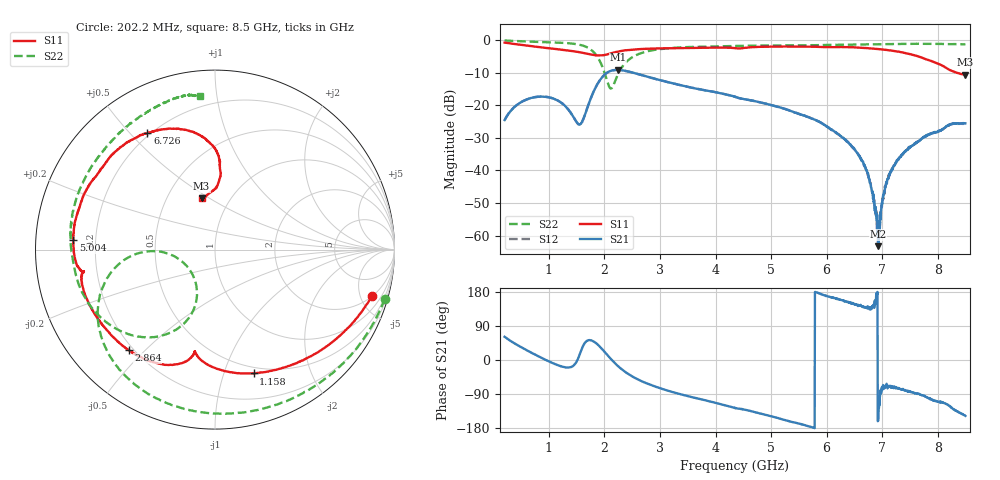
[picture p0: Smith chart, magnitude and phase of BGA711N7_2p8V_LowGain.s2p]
! S-Parameter file
! LabView S2P reader
! (c) DICE Linz
! Infineon Technologies
! Date: 14.11.2008 10:50
!BGA711L7_DeviceLevel_PEXTon_Board#2
!2.80_0.00_
!0 deg
# MHZ S MA R 50
!  S11  S21  S12  S22
!  f  mag  angle  mag  angle  mag  angle  mag  angle
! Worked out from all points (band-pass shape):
!   1563 points, 202.2 MHz to 8.5 GHz, reference 50 ohm
!   highest |S21| = -9.14 dB at 2.242 GHz (marker M1); lowest = -63.2 dB at 6.928 GHz (marker M2)
!   |S21| within 3 dB of the highest: 1.926 GHz to 2.967 GHz (1.041 GHz wide, 42.5 % of centre)
!   lowest |S11| = -10.6 dB at 8.5 GHz (marker M3), VSWR 1.84, Z = 36.9 + j23.1 ohm
!   |S11| at or under -10 dB: 8.337 GHz to end of sweep
!   |S22| runs from -14.9 to -0.1 dB; largest |S21 - S12| = 0.0022
!   S11 on the Smith chart (normalised r, x): 202.2 MHz: 2.02, -6.26; 1.158 GHz: 0.44, -1.26; 2.864 GHz: 0.18, -0.45; 5.004 GHz: 0.12, +0.03; 6.726 GHz: 0.19, +0.56; 8.5 GHz: 0.74, +0.46
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202.1679  0.9124 -16.5  0.05917 61.3  0.05899 61.1  0.9843 -16.3
648.4021  0.8125 -44.0  0.1266 22.2  0.1271 22.2  0.9452 -50.3
1158.384  0.7226 -72.7  0.1184 -13.5  0.1182 -13.6  0.9114 -92.4
1588.681  0.6414 -94.0  0.05403 27.9  0.05331 28.3  0.8323 -135.1
1774.612  0.5958 -99.9  0.1406 51.2  0.1406 51.1  0.6915 -158.2
1949.919  0.5806 -101.3  0.2631 30.2  0.2636 30.2  0.4133 -177.7
2109.288  0.6218 -102.9  0.3356 3.8  0.3349 3.8  0.1809 -147.0
2242.096  0.6646 -107.1  0.349 -15.8  0.3487 -15.9  0.2956 -110.4
2502.399  0.7131 -117.8  0.3175 -43.6  0.3174 -43.5  0.5456 -120.0
2863.636  0.7381 -130.7  0.2606 -67.4  0.2606 -67.3  0.6957 -139.5
2969.883  0.7431 -133.9  0.2464 -72.8  0.246 -72.8  0.719 -144.2
4351.084  0.7498 -170.0  0.1344 -127.1  0.1351 -126.2  0.8102 173.3
5004.498  0.7917 176.2  0.1006 -148.9  0.1006 -148.4  0.8245 156.1
5737.597  0.7893 154.7  0.06211 -177.4  0.06249 -177.7  0.8342 136.5
6396.324  0.7765 132.4  0.02653 151.7  0.02622 152.9  0.8487 121.3
6725.688  0.751 120.1  0.009659 136.8  0.00929 138.6  0.8573 115.2
6821.309  0.7399 116.2  0.004547 142.1  0.004778 139.9  0.858 113.8
6927.556  0.7267 112.8  0.0006899 -161.0  0.0007788 -164.0  0.861 112.1
7118.799  0.6966 105.8  0.007853 -69.8  0.008535 -73.4  0.8642 109.3
7347.228  0.6498 98.3  0.01724 -76.9  0.01697 -77.6  0.8713 105.7
7740.339  0.5268 88.0  0.03162 -93.8  0.0315 -93.8  0.8754 101.1
8500  0.2956 104.6  0.05296 -147.5  0.05193 -147.4  0.8585 95.4
